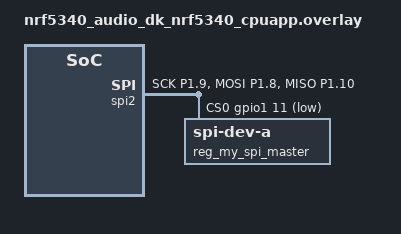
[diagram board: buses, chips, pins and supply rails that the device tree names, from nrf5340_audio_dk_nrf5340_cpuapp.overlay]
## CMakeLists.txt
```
# SPDX-License-Identifier: Apache-2.0

cmake_minimum_required(VERSION 3.20.0)
find_package(Zephyr REQUIRED HINTS $ENV{ZEPHYR_BASE})
project(my_spi)

target_sources(app PRIVATE src/main.c)
```

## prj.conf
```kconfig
CONFIG_GPIO=y

# NFC pins disable
CONFIG_NFCT_PINS_AS_GPIOS=y

# Config SPI
CONFIG_SPI=y
```

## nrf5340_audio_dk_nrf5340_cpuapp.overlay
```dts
/*
    This c program is meant to talk with another DK
    using SPI.
    It uses the Zephyr BitBang program as its base. 

    Joao Victor Colombari Carlet
    Metamaterials Group: Microwaves and Optics
    University of Sao Paulo
    Jan, 9th, 2024
*/

&pinctrl {
	spi_master_default: spi_master_default {
		group1 {
			psels = <NRF_PSEL(SPIM_SCK, 1, 9)>,
					<NRF_PSEL(SPIM_MOSI, 1, 8)>,
					<NRF_PSEL(SPIM_MISO, 1, 10)>;
		};
	};

	spi_master_sleep: spi_master_sleep {
		group1 {
			psels = <NRF_PSEL(SPIM_SCK, 1, 9)>,
					<NRF_PSEL(SPIM_MOSI, 1, 8)>,
					<NRF_PSEL(SPIM_MISO, 1, 10)>;
			low-power-enable;
		};
	};
};

my_spi_master: &spi2 {
	compatible = "nordic,nrf-spim";
	status = "okay";
	pinctrl-0 = <&spi_master_default>;
	pinctrl-1 = <&spi_master_sleep>;
	pinctrl-names = "default", "sleep";
	cs-gpios = <&gpio1 11 GPIO_ACTIVE_LOW>;
	reg_my_spi_master:  spi-dev-a@0 {
		reg = <0>;
	};
};
```

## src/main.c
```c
#include <zephyr/kernel.h>
#include <zephyr/device.h>
#include <zephyr/devicetree.h>
#include <zephyr/drivers/gpio.h>
#include <zephyr/drivers/spi.h>

#define MY_SPI_MASTER	DT_NODELABEL(my_spi_master)

void spi_master(const struct device *dev, struct spi_cs_control *cs)
{
	struct spi_config config;

	config.frequency = 4000000;
	config.operation = SPI_WORD_SET(8) | SPI_TRANSFER_MSB |
				 SPI_MODE_CPOL | SPI_MODE_CPHA | SPI_OP_MODE_MASTER,
	config.slave = 0;
	config.cs = *cs;

	enum { datacount = 5 };
	uint8_t buff[datacount] = { 0x01, 0x02, 0x03, 0x04, 0x05};
	uint8_t rxdata[datacount];

	struct spi_buf tx_buf[1] = { {.buf = buff, .len = datacount}};
	struct spi_buf rx_buf[1] = { {.buf = rxdata, .len = datacount}};

	struct spi_buf_set tx_set = { .buffers = tx_buf, .count = 1 };
	struct spi_buf_set rx_set = { .buffers = rx_buf, .count = 1 };

	int ret = spi_transceive(dev, &config, &tx_set, &rx_set);

	printf("Master ret: %d\n", ret);
	printf(" tx (i)  : %02x %02x %02x %02x %02x\n",
	       buff[0], buff[1], buff[2], buff[3], buff[4]);
	printf(" rx (i)  : %02x %02x %02x %02x %02x\n",
	       rxdata[0], rxdata[1], rxdata[2], rxdata[3], rxdata[4]);
}

int main(void)
{
	const struct device *const dev = DEVICE_DT_GET(MY_SPI_MASTER);

	if (!device_is_ready(dev)) {
		printk("%s: device not ready.\n", dev->name);
		return 0;
	}

	struct spi_cs_control cs_ctrl = (struct spi_cs_control){
		.gpio = GPIO_DT_SPEC_GET(MY_SPI_MASTER, cs_gpios),
		.delay = 10u,
	};
	printk("test\n");
	while (1) {
		spi_master(dev, &cs_ctrl);
		k_sleep(K_MSEC(2000));
	}
	return 0;
}
```
